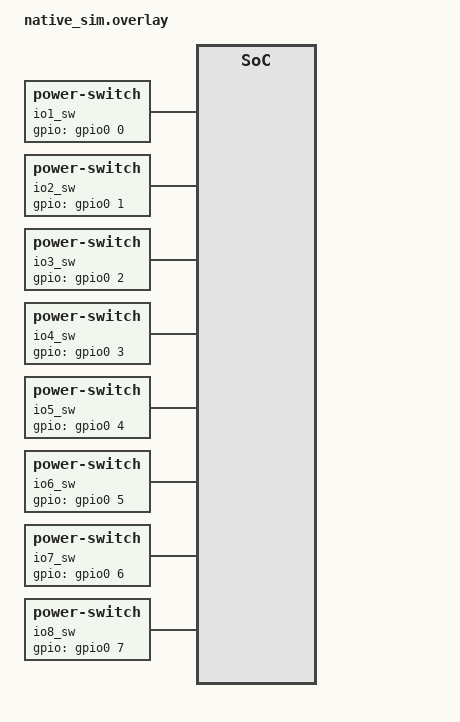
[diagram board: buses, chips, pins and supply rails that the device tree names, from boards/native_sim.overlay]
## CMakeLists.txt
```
cmake_minimum_required(VERSION 3.20.0)

list(APPEND BOARD_ROOT ${CMAKE_CURRENT_SOURCE_DIR})

macro(app_set_runner_args)
  board_runner_args(canopen "--node-id=${CONFIG_CANOPEN_NODE_ID}")
endmacro()

find_package(Zephyr REQUIRED HINTS $ENV{ZEPHYR_BASE})
project(gartennode_iocontrol)
FILE(GLOB app_sources src/*.c)
target_sources(app PRIVATE ${app_sources} objdict/CO_OD.c)
zephyr_include_directories(objdict)
```

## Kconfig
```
#
# Copyright (c) 2019 Vestas Wind Systems A/S
#
# SPDX-License-Identifier: Apache-2.0
#

config CANOPEN_NODE_ID
	int "CANopen node ID"
	default 10
	range 1 127
	help
	  7-bit CANopen Node ID

config IO_UPDATE_DIAGNOSTICS
	bool "Record CANopen update timing and reset causes"
	depends on CANOPENNODE_PROGRAM_DOWNLOAD && SOC_FAMILY_STM32
	select HWINFO
	select LOG_RUNTIME_FILTERING
	help
	  Record download progress and callback latency without changing the
	  flash operation. Suppress GPIO-expander log noise to preserve diagnostic
	  buffer space. Intended for hardware update regression tests.

# Match Gartennode's scratch layout, not Zephyr's newer offset-swap default.
# Defaults leave native_sim, which does not use MCUboot, unaffected.
choice MCUBOOT_BOOTLOADER_MODE
	default MCUBOOT_BOOTLOADER_MODE_SWAP_SCRATCH if BOARD_GARTENNODE && BOOTLOADER_MCUBOOT
endchoice

config MCUBOOT_IMGTOOL_SIGN_VERSION
	default "0.1.0" if BOARD_GARTENNODE && BOOTLOADER_MCUBOOT

config MCUBOOT_EXTRA_IMGTOOL_ARGS
	default "--pad" if BOARD_GARTENNODE && BOOTLOADER_MCUBOOT

source "Kconfig.zephyr"
```

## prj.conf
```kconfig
# Print a banner on the UART on startup.
CONFIG_BOOT_BANNER=y

CONFIG_LOG=y
CONFIG_LOG_BACKEND_UART=y
CONFIG_CANOPENNODE_LOG_LEVEL_DBG=y
CONFIG_MULTITHREADING=y
#CONFIG_WATCHDOG=y
#CONFIG_TASK_WDT=y
#CONFIG_TASK_WDT_MIN_TIMEOUT=500

CONFIG_GPIO=y
CONFIG_I2C=y
CONFIG_GPIO_PCF857X=y
CONFIG_SENSOR=y

CONFIG_CAN=y

CONFIG_MAIN_STACK_SIZE=2048

CONFIG_CANOPENNODE=y
CONFIG_CANOPENNODE_SYNC_THREAD=y
CONFIG_CANOPENNODE_STORAGE=y
CONFIG_CANOPENNODE_LEDS=y
CONFIG_CANOPENNODE_PROGRAM_DOWNLOAD=y
CONFIG_CANOPEN_NODE_ID=13

CONFIG_LOG_PRINTK=y
CONFIG_REBOOT=y
CONFIG_UART_CONSOLE=y
CONFIG_SERIAL=y
CONFIG_CONSOLE=y
# Enable Zephyr application to be booted by MCUboot
CONFIG_BOOTLOADER_MCUBOOT=y

# PROGRAM_CTRL_CLEAR erases the complete secondary slot before download.
# Do not erase sectors again while handling SDO data.
CONFIG_IMG_ERASE_PROGRESSIVELY=n
CONFIG_STREAM_FLASH_ERASE=n

# Use the default MCUBoot PEM key file (BOOT_SIGNATURE_KEY_FILE)
CONFIG_MCUBOOT_SIGNATURE_KEY_FILE="bootloader/mcuboot/gartennode.pem"
```

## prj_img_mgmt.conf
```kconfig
CONFIG_LOG=y
CONFIG_LOG_BACKEND_UART=y
CONFIG_CANOPEN_LOG_LEVEL_DBG=y

CONFIG_GPIO=y
CONFIG_I2C=y
CONFIG_GPIO_PCF857X=y
#CONFIG_LED_STRIP=y
CONFIG_SENSOR=y

CONFIG_CAN=y
CONFIG_CAN_MAX_FILTER=13

CONFIG_FLASH=y
CONFIG_FLASH_MAP=y
CONFIG_STREAM_FLASH=y
CONFIG_NVS=y
CONFIG_SETTINGS=y
CONFIG_SETTINGS_NVS=y

CONFIG_MAIN_STACK_SIZE=2048

CONFIG_CANOPEN=y
CONFIG_CANOPENNODE_SYNC_THREAD=y
CONFIG_CANOPENNODE_STORAGE=y
CONFIG_CANOPENNODE_LEDS=y
CONFIG_CANOPEN_NODE_ID=11

CONFIG_REBOOT=y


CONFIG_UART_CONSOLE=y
CONFIG_SERIAL=y
CONFIG_CONSOLE=y
```

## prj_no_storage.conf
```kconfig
CONFIG_LOG=y
CONFIG_LOG_BACKEND_UART=y
CONFIG_CANOPEN_LOG_LEVEL_DBG=y

CONFIG_GPIO=y
CONFIG_I2C=y
CONFIG_GPIO_PCF857X=y
#CONFIG_LED_STRIP=y
CONFIG_SENSOR=y

CONFIG_CAN=y
CONFIG_CAN_MAX_FILTER=13

CONFIG_CANOPEN=y
CONFIG_CANOPENNODE_SYNC_THREAD=y
CONFIG_CANOPENNODE_LEDS=y
CONFIG_CANOPEN_NODE_ID=11

CONFIG_REBOOT=y

CONFIG_UART_CONSOLE=y
CONFIG_SERIAL=y
CONFIG_CONSOLE=y
```

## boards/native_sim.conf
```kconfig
CONFIG_BOOTLOADER_MCUBOOT=n
CONFIG_MCUBOOT_SIGNATURE_KEY_FILE=""
CONFIG_CAN=y
CONFIG_CAN_NATIVE_UDP=y
CONFIG_CAN_NATIVE_UDP_RX_THREAD_PRIORITY=1
CONFIG_CANOPENNODE_SYNC_THREAD=n
CONFIG_CANOPENNODE_STORAGE=n
CONFIG_CANOPENNODE_PROGRAM_DOWNLOAD=n
CONFIG_CANOPEN_NODE_ID=13
CONFIG_FLASH=n
CONFIG_FLASH_PAGE_LAYOUT=n
CONFIG_FLASH_MAP=n
CONFIG_STREAM_FLASH=n
CONFIG_NVS=n
CONFIG_SETTINGS=n
CONFIG_WATCHDOG=n
CONFIG_TASK_WDT=n
CONFIG_GPIO=y
CONFIG_GPIO_EMUL=y
CONFIG_GPIO_PCF857X=n
CONFIG_I2C=n
CONFIG_SPI=n
CONFIG_SPI_NOR=n
```

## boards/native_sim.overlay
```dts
/ {
	chosen {
		zephyr,canbus = &can_udp0;
	};

	can_udp0: udp-can {
		compatible = "zephyr,native-linux-udp-can";
		host = "127.0.0.1";
		port = <46100>;
		local-port = <46114>;
		status = "okay";
	};

	io1_sw: io1-switch { compatible = "power-switch"; gpios = <&gpio0 0 GPIO_ACTIVE_HIGH>; status = "okay"; };
	io2_sw: io2-switch { compatible = "power-switch"; gpios = <&gpio0 1 GPIO_ACTIVE_HIGH>; status = "okay"; };
	io3_sw: io3-switch { compatible = "power-switch"; gpios = <&gpio0 2 GPIO_ACTIVE_HIGH>; status = "okay"; };
	io4_sw: io4-switch { compatible = "power-switch"; gpios = <&gpio0 3 GPIO_ACTIVE_HIGH>; status = "okay"; };
	io5_sw: io5-switch { compatible = "power-switch"; gpios = <&gpio0 4 GPIO_ACTIVE_HIGH>; status = "okay"; };
	io6_sw: io6-switch { compatible = "power-switch"; gpios = <&gpio0 5 GPIO_ACTIVE_HIGH>; status = "okay"; };
	io7_sw: io7-switch { compatible = "power-switch"; gpios = <&gpio0 6 GPIO_ACTIVE_HIGH>; status = "okay"; };
	io8_sw: io8-switch { compatible = "power-switch"; gpios = <&gpio0 7 GPIO_ACTIVE_HIGH>; status = "okay"; };
};

&gpio0 {
	status = "okay";
};
```

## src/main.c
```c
/*
 * Copyright (c) 2019 Vestas Wind Systems A/S
 *
 * SPDX-License-Identifier: Apache-2.0
 */

#if defined(CONFIG_BOARD_NATIVE_SIM)
#define _POSIX_C_SOURCE 200809L
#include <time.h>
#endif

#include <zephyr/kernel.h>
#include <zephyr/sys/reboot.h>
#include <zephyr/settings/settings.h>
#include <canopennode.h>
#include "io.h"
#include "update_control.h"
#include "update_diagnostics.h"
#if defined(CONFIG_BOARD_NATIVE_SIM)
#include <zephyr/drivers/can.h>
#include <zephyr/sys/util.h>

K_SEM_DEFINE(native_sim_can_rx_wakeup, 0, 1);

static int64_t native_sim_monotonic_ms(void)
{
	struct timespec now;

	clock_gettime(CLOCK_MONOTONIC, &now);
	return (int64_t)now.tv_sec * 1000 + now.tv_nsec / 1000000;
}
static void native_sim_can_bus_activity(const struct device *dev,
				       struct can_frame *frame, void *user_data)
{
	ARG_UNUSED(dev);
	ARG_UNUSED(frame);
	ARG_UNUSED(user_data);
	k_sem_give(&native_sim_can_rx_wakeup);
}
#endif

#define LOG_LEVEL CONFIG_CANOPENNODE_LOG_LEVEL
#include <zephyr/logging/log.h>
LOG_MODULE_REGISTER(app);

#define CAN_INTERFACE DEVICE_DT_GET(DT_CHOSEN(zephyr_canbus))
#define CAN_BITRATE (DT_PROP_OR(DT_CHOSEN(zephyr_canbus), bitrate, \
					  DT_PROP_OR(DT_CHOSEN(zephyr_canbus), bus_speed, \
						     CONFIG_CAN_DEFAULT_BITRATE)) / 1000)


/**
 * @brief Main application entry point.
 *
 * The main application thread is responsible for initializing the
 * CANopen stack and doing the non real-time processing.
 */
int main(void)
{
	CO_NMT_reset_cmd_t reset = CO_RESET_NOT;
	CO_ReturnError_t err;
	struct canopen_context can;
	uint16_t timeout;
	uint32_t elapsed;
	int64_t timestamp;
#ifdef CONFIG_CANOPENNODE_STORAGE
	int ret;
#endif /* CONFIG_CANOPENNODE_STORAGE */

	can.dev = CAN_INTERFACE;
	if (!device_is_ready(can.dev)) {
		LOG_ERR("CAN interface not ready");
		return 0;
	}

#ifdef CONFIG_CANOPENNODE_STORAGE
	ret = settings_subsys_init();
	if (ret) {
		LOG_ERR("failed to initialize settings subsystem (err = %d)",
			ret);
		return 0;
	}

	ret = settings_load();
	if (ret) {
		LOG_ERR("failed to load settings (err = %d)", ret);
		return 0;
	}
#endif /* CONFIG_CANOPENNODE_STORAGE */

	OD_powerOnCounter++;

	while (reset != CO_RESET_APP) {
		elapsed =  0U; /* milliseconds */
#if defined(CONFIG_BOARD_NATIVE_SIM)
		OD_NMTStartup = 8U;
		OD_producerHeartbeatTime = 1000U;
		OD_TPDOCommunicationParameter[0].eventTimer = 250U;
#endif

		err = CO_init(&can, CONFIG_CANOPEN_NODE_ID, CAN_BITRATE);
		if (err != CO_ERROR_NO) {
			LOG_ERR("CO_init failed (err = %d)", err);
			return 0;
		}

		LOG_INF("CANopen stack initialized: %d", CONFIG_CANOPEN_NODE_ID);

#ifdef CONFIG_CANOPENNODE_STORAGE
		canopen_storage_attach(CO->SDO[0], CO->em);
#endif /* CONFIG_CANOPENNODE_STORAGE */

		io_init(CO->NMT);

		if (IS_ENABLED(CONFIG_CANOPENNODE_PROGRAM_DOWNLOAD)) {
			canopen_program_download_attach(CO->NMT, CO->SDO[0],
							CO->em);
			io_update_control_attach(CO->SDO[0]);
#if defined(CONFIG_IO_UPDATE_DIAGNOSTICS)
			io_update_diagnostics_attach(CO->SDO[0]);
#endif
		}

		CO_CANsetNormalMode(CO->CANmodule[0]);

#if defined(CONFIG_BOARD_NATIVE_SIM)
		const struct can_filter native_sim_wakeup_filter = {
			.id = 0U,
			.mask = 0U,
		};
		int native_sim_wakeup_filter_id =
			can_add_rx_filter(can.dev, native_sim_can_bus_activity, NULL,
					  &native_sim_wakeup_filter);

		if (native_sim_wakeup_filter_id < 0) {
			LOG_ERR("Failed to add native-sim CAN activity filter: %d",
				native_sim_wakeup_filter_id);
		}
#endif

		while (true) {
			timeout = 1U; /* default timeout in milliseconds */
#if defined(CONFIG_BOARD_NATIVE_SIM)
			timestamp = native_sim_monotonic_ms();
#else
			timestamp = k_uptime_get();
#endif
			reset = CO_process(CO, (uint16_t)elapsed, &timeout);

			if (reset != CO_RESET_NOT) {
				break;
			}

#if defined(CONFIG_BOARD_NATIVE_SIM)
			/* Native has no SYNC worker; use the host clock for PDO timers. */
			CO_LOCK_OD();
			CO_process_RPDO(CO, false);
			CO_process_TPDO(CO, false, elapsed * 1000U);
			CO_UNLOCK_OD();
			io_write_output();
			(void)k_sem_take(&native_sim_can_rx_wakeup, K_MSEC(MAX(timeout, 10U)));
			elapsed = (uint32_t)(native_sim_monotonic_ms() - timestamp);
			if (elapsed == 0U) {
				elapsed = 1U;
			}
#else
			if (timeout > 0) {
				io_write_output();
				io_read_input();

#ifdef CONFIG_CANOPENNODE_STORAGE
				ret = canopen_storage_save(
					CANOPEN_STORAGE_EEPROM);
				if (ret) {
					LOG_ERR("failed to save EEPROM");
				}
#endif /* CONFIG_CANOPENNODE_STORAGE */
				/*
				 * Try to sleep for as long as the
				 * stack requested and calculate the
				 * exact time elapsed.
				 */
				k_sleep(K_MSEC(timeout));
				elapsed = (uint32_t)k_uptime_delta(&timestamp);
			} else {
				/*
				 * Do not sleep, more processing to be
				 * done by the stack.
				 */
				elapsed = 0U;
			}
#endif
		}

#if defined(CONFIG_BOARD_NATIVE_SIM)
		if (native_sim_wakeup_filter_id >= 0) {
			can_remove_rx_filter(can.dev, native_sim_wakeup_filter_id);
		}
#endif
		if (reset == CO_RESET_COMM) {
			LOG_INF("Resetting communication");
		}
	}

	LOG_INF("Resetting device");

	CO_delete(&can);
	sys_reboot(SYS_REBOOT_COLD);
}
```

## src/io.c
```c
/*
 * Copyright (c) 2019 Vestas Wind Systems A/S
 *
 * SPDX-License-Identifier: Apache-2.0
 */
#include <zephyr/kernel.h>
#include <zephyr/drivers/gpio.h>
#if defined(CONFIG_BOARD_NATIVE_SIM)
#include <zephyr/drivers/gpio/gpio_emul.h>
#endif
#include <canopennode.h>
#include "io.h"
#include "native_sim_gpio.h"
#define LOG_LEVEL CONFIG_CANOPENNODE_LOG_LEVEL
#include <zephyr/logging/log.h>
LOG_MODULE_REGISTER(io);

static struct gpio_dt_spec led_green_gpio = GPIO_DT_SPEC_GET_OR(
		DT_ALIAS(green_led), gpios, {0});
static struct gpio_dt_spec led_red_gpio = GPIO_DT_SPEC_GET_OR(
		DT_ALIAS(red_led), gpios, {0});

#if defined(CONFIG_BOARD_NATIVE_SIM)
static const struct gpio_dt_spec io_gpio[] = {
	GPIO_DT_SPEC_GET(DT_NODELABEL(io1_sw), gpios),
	GPIO_DT_SPEC_GET(DT_NODELABEL(io2_sw), gpios),
	GPIO_DT_SPEC_GET(DT_NODELABEL(io3_sw), gpios),
	GPIO_DT_SPEC_GET(DT_NODELABEL(io4_sw), gpios),
	GPIO_DT_SPEC_GET(DT_NODELABEL(io5_sw), gpios),
	GPIO_DT_SPEC_GET(DT_NODELABEL(io6_sw), gpios),
	GPIO_DT_SPEC_GET(DT_NODELABEL(io7_sw), gpios),
	GPIO_DT_SPEC_GET(DT_NODELABEL(io8_sw), gpios),
};
#else
static const struct device *pcf857x;
static const int inputLookupTable[8] = {8,9,10,11,12,13,14,15};
static const int outputLookupTable[8] = {0,1,2,3,4,5,6,7};
#endif
static uint8_t output[8] = {0};

static void config_relais(void);

/**
 * @brief Callback for setting LED indicator state.
 *
 * @param value true if the LED indicator shall be turned on, false otherwise.
 * @param arg argument that was passed when LEDs were initialized.
 */
static void led_callback(bool value, void *arg)
{
	struct gpio_dt_spec *led_gpio = arg;

	if (!led_gpio || !led_gpio->port) {
		return;
	}

	gpio_pin_set_dt(led_gpio, value);
}

/**
 * @brief Configure LED indicators pins and callbacks.
 *
 * This routine configures the GPIOs for the red and green LEDs (if
 * available).
 *
 * @param nmt CANopenNode NMT object.
 */
static void config_leds(CO_NMT_t *nmt)
{
	int err;

	if (!led_green_gpio.port) {
		LOG_INF("Green LED not available");
	} else if (!gpio_is_ready_dt(&led_green_gpio)) {
		LOG_ERR("Green LED device not ready");
		led_green_gpio.port = NULL;
	} else {
		err = gpio_pin_configure_dt(&led_green_gpio,
					    GPIO_OUTPUT_INACTIVE);
		if (err) {
			LOG_ERR("failed to configure Green LED gpio: %d", err);
			led_green_gpio.port = NULL;
		}
	}

	if (!led_red_gpio.port) {
		LOG_INF("Red LED not available");
	} else if (!gpio_is_ready_dt(&led_red_gpio)) {
		LOG_ERR("Red LED device not ready");
		led_red_gpio.port = NULL;
	} else {
		err = gpio_pin_configure_dt(&led_red_gpio,
					    GPIO_OUTPUT_INACTIVE);
		if (err) {
			LOG_ERR("failed to configure Red LED gpio: %d", err);
			led_red_gpio.port = NULL;
		}
	}

	canopen_leds_init(nmt,
			  led_callback, &led_green_gpio,
			  led_callback, &led_red_gpio);
}

static void config_relais(void) {
#if defined(CONFIG_BOARD_NATIVE_SIM)
	for (size_t i = 0; i < ARRAY_SIZE(io_gpio); i++) {
		/* Active-low OD values: one means the load is off. */
		OD_outputs[i] = 1;
		output[i] = 1;
		if (!gpio_is_ready_dt(&io_gpio[i]) ||
		    gpio_pin_configure_dt(&io_gpio[i], GPIO_OUTPUT_INACTIVE) != 0) {
			LOG_ERR("Unable to initialize I/O output %u", (unsigned int)i + 1U);
		}
	}
	uint8_t gpio_states[ARRAY_SIZE(io_gpio)];
	for (size_t i = 0; i < ARRAY_SIZE(io_gpio); i++) {
		gpio_states[i] = (uint8_t)(gpio_emul_output_get_dt(&io_gpio[i]) > 0);
	}
	native_sim_gpio_publish(46008U, gpio_states, ARRAY_SIZE(gpio_states));
#else
    pcf857x = DEVICE_DT_GET(DT_NODELABEL(pcf8575));
	if (!pcf857x) {
		LOG_INF("device not found");
		return;
	}
	for (int i=0;i<8;i++) {
		gpio_pin_configure(pcf857x, (gpio_pin_t)outputLookupTable[i], GPIO_OUTPUT);
	}
	for (int i=0;i<8;i++) {
		gpio_pin_configure(pcf857x, (gpio_pin_t)inputLookupTable[i], GPIO_INPUT);
	}
#endif
}
void io_write_output(void) {
#if defined(CONFIG_BOARD_NATIVE_SIM)
	for (size_t i = 0; i < ARRAY_SIZE(io_gpio); i++) {
		/* Emulated GPIO is active-high, while OD output values are active-low. */
		if (output[i] != (uint8_t)OD_outputs[i] &&
		    gpio_pin_set_dt(&io_gpio[i], OD_outputs[i] == 0) == 0) {
			output[i] = (uint8_t)OD_outputs[i];
		}
	}
	uint8_t states[ARRAY_SIZE(io_gpio)];
	for (size_t i = 0; i < ARRAY_SIZE(io_gpio); i++) {
		states[i] = (uint8_t)(gpio_emul_output_get_dt(&io_gpio[i]) > 0);
	}
	native_sim_gpio_publish(46008U, states, ARRAY_SIZE(states));
#else
	for (uint8_t i=0;i<8;i++) {
		if (output[i] != (uint8_t)(OD_outputs[i])) {
			int set_value = 0; 
			if ((int)(OD_outputs[i]) != 0) {
				set_value = 1;
			}
			int response = gpio_pin_set(pcf857x, outputLookupTable[i], set_value);
			if (response == 0) {
				output[i] = (uint8_t)(OD_outputs[i]);
			}
		}
	}
#endif
}

#if !defined(CONFIG_BOARD_NATIVE_SIM)
void io_read_input(void) {
	for (uint8_t i=0;i<8;i++) {
		uint8_t read = (uint8_t)(gpio_pin_get(pcf857x, (gpio_pin_t)inputLookupTable[i]));
		uint8_t new_input = 0;
		if (read != 0) {
			new_input = 1;
		}
		if ((uint8_t)(OD_inputs[i]) != new_input) {
			CO_LOCK_OD();
			OD_inputs[i] = (BOOLEAN)(new_input);
			CO_UNLOCK_OD();
		}
	}
}
#endif

void io_init(CO_NMT_t *nmt)
{
	config_leds(nmt);
	config_relais();
}
```

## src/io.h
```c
#ifndef IO_H
#define IO_H

#include <canopennode.h>

void io_init(CO_NMT_t *nmt);
void io_write_output(void);
#if !defined(CONFIG_BOARD_NATIVE_SIM)
void io_read_input(void);
#endif

#endif
```

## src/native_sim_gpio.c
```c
#include "native_sim_gpio.h"
#include <string.h>
#include <zephyr/sys/util.h>

#if defined(CONFIG_BOARD_NATIVE_SIM)
#include <zephyr/kernel.h>
#include <arpa/inet.h>
#include <netinet/in.h>
#include <sys/socket.h>
#include <unistd.h>

void native_sim_gpio_publish(uint16_t companion_port, const uint8_t *values,
			     size_t count)
{
	static int socket_fd = -1;
	struct snapshot {
		uint16_t port;
		uint8_t values[64];
		size_t count;
		int64_t sent_at;
		bool initialized;
	};
	static struct snapshot snapshots[4];
	struct snapshot *snapshot = NULL;
	struct sockaddr_in destination = {
		.sin_family = AF_INET,
		.sin_addr.s_addr = htonl(INADDR_LOOPBACK),
	};

	if (values == NULL || count == 0U || count > 64U) {
		return;
	}
	for (size_t i = 0; i < ARRAY_SIZE(snapshots); i++) {
		if (snapshots[i].port == companion_port || snapshots[i].port == 0U) {
			snapshot = &snapshots[i];
			if (snapshot->port == 0U) snapshot->port = companion_port;
			break;
		}
	}
	if (snapshot == NULL) return;
	int64_t now = k_uptime_get();
	bool changed = !snapshot->initialized || snapshot->count != count ||
		memcmp(snapshot->values, values, count) != 0;
	if (!changed && now - snapshot->sent_at < 1000) return;
	if (socket_fd < 0) {
		socket_fd = socket(AF_INET, SOCK_DGRAM, 0);
	}
	if (socket_fd < 0) {
		return;
	}
	destination.sin_port = htons(companion_port);
	if (sendto(socket_fd, values, count, 0, (struct sockaddr *)&destination,
		   sizeof(destination)) == (ssize_t)count) {
		memcpy(snapshot->values, values, count);
		snapshot->count = count;
		snapshot->sent_at = now;
		snapshot->initialized = true;
	}
}
#else
void native_sim_gpio_publish(uint16_t companion_port, const uint8_t *values,
			     size_t count)
{
	ARG_UNUSED(companion_port);
	ARG_UNUSED(values);
	ARG_UNUSED(count);
}
#endif
```

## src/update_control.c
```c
#include "update_control.h"

#if defined(CONFIG_CANOPENNODE_PROGRAM_DOWNLOAD)
#include <string.h>
#include <zephyr/dfu/mcuboot.h>
#include <zephyr/logging/log.h>

LOG_MODULE_REGISTER(update_control, CONFIG_CANOPENNODE_LOG_LEVEL);

#define PROGRAM_CONTROL 0x1f51
#define CONFIRM_IMAGE 0x80

static CO_SDO_abortCode_t (*upstream_control)(CO_ODF_arg_t *);

static CO_SDO_abortCode_t software_version(CO_ODF_arg_t *arg)
{
	static const char version[] = CONFIG_MCUBOOT_IMGTOOL_SIGN_VERSION;

	_Static_assert(sizeof(version) > 1, "Firmware version must not be empty");
	_Static_assert(sizeof(version) - 1 <= CONFIG_CANOPENNODE_SDO_BUFFER_SIZE,
		       "Firmware version must fit the SDO buffer");
	if (!arg->reading) {
		return CO_SDO_AB_READONLY;
	}
	/* Exclude the C terminator: the gateway compares the VISIBLE_STRING. */
	memcpy(arg->data, version, sizeof(version) - 1);
	arg->dataLength = sizeof(version) - 1;
	arg->dataLengthTotal = sizeof(version) - 1;
	return CO_SDO_AB_NONE;
}

static CO_SDO_abortCode_t program_control(CO_ODF_arg_t *arg)
{
	if (arg->reading || arg->subIndex != 1U || arg->data[0] != CONFIRM_IMAGE) {
		return upstream_control(arg);
	}

	/*
	 * 0x80 is Zephyr's image-confirmation extension, not a program stop/start.
	 * The gateway may verify a test image after bringing it OPERATIONAL,
	 * then confirm it without another NMT transition.
	 * Keep STOP/CLEAR/START subject to upstream's PRE-OPERATIONAL requirement,
	 * but permit explicit confirmation in either active NMT state.
	 */
	memcpy(arg->data, arg->ODdataStorage, sizeof(uint8_t));
	if (!boot_is_img_confirmed()) {
		int err = boot_write_img_confirmed();

		if (err != 0) {
			LOG_ERR("Image confirmation failed: %d", err);
			return CO_SDO_AB_HW;
		}
		LOG_INF("Running image confirmed");
	}
	return CO_SDO_AB_NONE;
}

void io_update_control_attach(CO_SDO_t *sdo)
{
	uint16_t entry = CO_OD_find(sdo, PROGRAM_CONTROL);

	if (entry == 0xffffU || sdo->ODExtensions[entry].pODFunc == NULL) {
		LOG_ERR("Program control callback absent");
		return;
	}
	upstream_control = sdo->ODExtensions[entry].pODFunc;
	CO_OD_configure(sdo, PROGRAM_CONTROL, program_control, NULL, 0, 0);
	CO_OD_configure(sdo, 0x100a, software_version, NULL, 0, 0);
}
#endif
```

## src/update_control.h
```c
#ifndef IO_UPDATE_CONTROL_H
#define IO_UPDATE_CONTROL_H

#include <canopennode.h>

void io_update_control_attach(CO_SDO_t *sdo);

#endif
```

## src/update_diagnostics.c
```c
/* Optional, non-invasive instrumentation of the upstream download callbacks. */
#include "update_diagnostics.h"

#if defined(CONFIG_IO_UPDATE_DIAGNOSTICS)
#include <zephyr/drivers/hwinfo.h>
#include <zephyr/init.h>
#include <zephyr/logging/log.h>
#include <zephyr/logging/log_ctrl.h>

LOG_MODULE_REGISTER(update_diagnostics, LOG_LEVEL_INF);

/* Read only after the transfer: live debugger accesses can disturb timing. */
volatile struct {
	uint32_t reset_cause;
	uint32_t bytes;
	uint32_t calls;
	uint32_t maximum_data_us;
	uint32_t maximum_control_us;
	uint32_t abort_code;
	uint32_t last_command;
	uint32_t last_callback_ms;
} io_update_diagnostics;

static CO_SDO_abortCode_t (*data_callback)(CO_ODF_arg_t *);
static CO_SDO_abortCode_t (*control_callback)(CO_ODF_arg_t *);

static int diagnostics_init(void)
{
	static const char *const noisy_sources[] = {
		"gpio_pcf857x",
	};
	uint32_t cause = 0;

	(void)hwinfo_get_reset_cause(&cause);
	io_update_diagnostics.reset_cause = cause;
	LOG_INF("Image %s, reset cause 0x%08x, watchdog support %u",
		CONFIG_MCUBOOT_IMGTOOL_SIGN_VERSION, cause,
		IS_ENABLED(CONFIG_WATCHDOG));
	(void)hwinfo_clear_reset_cause();
	for (size_t i = 0; i < ARRAY_SIZE(noisy_sources); i++) {
		int id = log_source_id_get(noisy_sources[i]);

		if (id >= 0) {
			log_filter_set(NULL, 0, id, LOG_LEVEL_NONE);
		}
	}
	return 0;
}

SYS_INIT(diagnostics_init, APPLICATION, 0);

static CO_SDO_abortCode_t record_data(CO_ODF_arg_t *arg)
{
	if (arg->reading || arg->subIndex != 1U) {
		return data_callback(arg);
	}

	uint32_t length = arg->dataLength;
	uint32_t start = k_cycle_get_32();
	CO_SDO_abortCode_t result;

	if (arg->firstSegment) {
		io_update_diagnostics.bytes = 0;
		io_update_diagnostics.calls = 0;
		io_update_diagnostics.maximum_data_us = 0;
		LOG_INF("Image download started: %u bytes", arg->dataLengthTotal);
	}
	result = data_callback(arg);
	uint32_t duration = k_cyc_to_us_floor32(k_cycle_get_32() - start);

	io_update_diagnostics.bytes += length;
	io_update_diagnostics.calls++;
	io_update_diagnostics.maximum_data_us =
		MAX(io_update_diagnostics.maximum_data_us, duration);
	io_update_diagnostics.abort_code = result;
	io_update_diagnostics.last_callback_ms = k_uptime_get_32();
	if (arg->lastSegment || result != CO_SDO_AB_NONE || duration > 100000U) {
		LOG_INF("Download bytes=%u max=%u us abort=%x final=%u",
			io_update_diagnostics.bytes,
			io_update_diagnostics.maximum_data_us,
			(unsigned int)result, arg->lastSegment);
	}
	return result;
}

static CO_SDO_abortCode_t record_control(CO_ODF_arg_t *arg)
{
	uint8_t command = arg->reading ? 0xff : arg->data[0];
	uint32_t start = k_cycle_get_32();
	CO_SDO_abortCode_t result = control_callback(arg);
	uint32_t duration = k_cyc_to_us_floor32(k_cycle_get_32() - start);

	if (!arg->reading) {
		io_update_diagnostics.last_command = command;
		io_update_diagnostics.maximum_control_us =
			MAX(io_update_diagnostics.maximum_control_us, duration);
		LOG_INF("Control %u: %u us, abort=%x", command, duration,
			(unsigned int)result);
	}
	return result;
}

void io_update_diagnostics_attach(CO_SDO_t *sdo)
{
	uint16_t data = CO_OD_find(sdo, 0x1f50);
	uint16_t control = CO_OD_find(sdo, 0x1f51);

	if (data == 0xffffU || control == 0xffffU) {
		LOG_ERR("Update objects absent");
		return;
	}
	data_callback = sdo->ODExtensions[data].pODFunc;
	control_callback = sdo->ODExtensions[control].pODFunc;
	if (data_callback == NULL || control_callback == NULL) {
		LOG_ERR("Update callbacks absent");
		return;
	}
	CO_OD_configure(sdo, 0x1f50, record_data, NULL, 0, 0);
	CO_OD_configure(sdo, 0x1f51, record_control, NULL, 0, 0);
}
#endif
```

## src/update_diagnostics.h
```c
#ifndef IO_UPDATE_DIAGNOSTICS_H
#define IO_UPDATE_DIAGNOSTICS_H

#include <canopennode.h>

#if defined(CONFIG_IO_UPDATE_DIAGNOSTICS)
void io_update_diagnostics_attach(CO_SDO_t *sdo);
#endif

#endif
```
